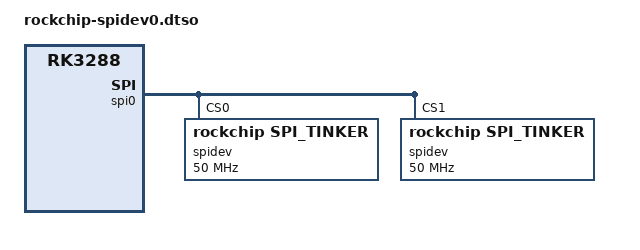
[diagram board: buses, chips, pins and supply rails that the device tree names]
/* Definition for SPI0 Spidev
 * spi port for Tinker Board
 */

/dts-v1/;
/plugin/;

/{
	compatible = "rockchip,rk3288";

	fragment@0 {

		target = <&spi0>;
		__overlay__ {
			#address-cells = <1>;
			#size-cells = <0>;

			spidev@0 {
				compatible = "rockchip,spi_tinker";
				reg = <0>;
				spi-max-frequency = <50000000>;
				spi-cpha = <1>;
				status = "okay";
			};

			spidev@1 {
				compatible = "rockchip,spi_tinker";
				reg = <1>;
				spi-max-frequency = <50000000>;
				spi-cpha = <1>;
				status = "okay";
			};
		};
	};
};
